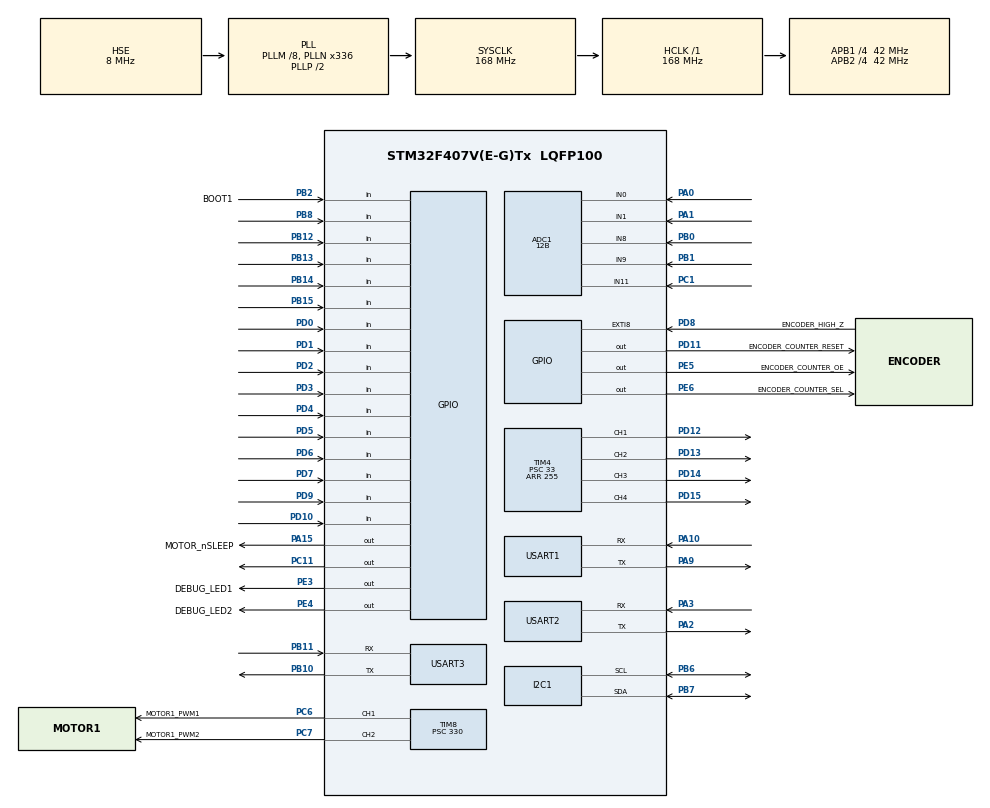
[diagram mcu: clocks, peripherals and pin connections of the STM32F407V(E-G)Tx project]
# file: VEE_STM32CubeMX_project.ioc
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ADC1.Channel-10\#ChannelRegularConversion=ADC_CHANNEL_1
ADC1.Channel-11\#ChannelRegularConversion=ADC_CHANNEL_11
ADC1.Channel-9\#ChannelRegularConversion=ADC_CHANNEL_0
ADC1.ClockPrescaler=ADC_CLOCK_SYNC_PCLK_DIV2
ADC1.ContinuousConvMode=ENABLE
ADC1.DMAContinuousRequests=ENABLE
ADC1.DataAlign=ADC_DATAALIGN_RIGHT
ADC1.DiscontinuousConvMode=DISABLE
ADC1.EOCSelection=ADC_EOC_SINGLE_CONV
ADC1.EnableAnalogWatchDog=false
ADC1.ExternalTrigConv=ADC_SOFTWARE_START
ADC1.ExternalTrigConvEdge=ADC_EXTERNALTRIGCONVEDGE_NONE
ADC1.InjNumberOfConversion=0
ADC1.NbrOfConversion=3
ADC1.NbrOfConversionFlag=1
ADC1.Rank-10\#ChannelRegularConversion=2
ADC1.Rank-11\#ChannelRegularConversion=3
ADC1.Rank-9\#ChannelRegularConversion=1
ADC1.Resolution=ADC_RESOLUTION_12B
ADC1.SamplingTime-10\#ChannelRegularConversion=ADC_SAMPLETIME_480CYCLES
ADC1.SamplingTime-11\#ChannelRegularConversion=ADC_SAMPLETIME_480CYCLES
ADC1.SamplingTime-9\#ChannelRegularConversion=ADC_SAMPLETIME_480CYCLES
ADC1.ScanConvMode=ENABLE
ADC1.master=1
Dma.ADC1.3.Direction=DMA_PERIPH_TO_MEMORY
Dma.ADC1.3.FIFOMode=DMA_FIFOMODE_DISABLE
Dma.ADC1.3.Instance=DMA2_Stream0
Dma.ADC1.3.MemDataAlignment=DMA_MDATAALIGN_HALFWORD
Dma.ADC1.3.MemInc=DMA_MINC_ENABLE
Dma.ADC1.3.Mode=DMA_CIRCULAR
Dma.ADC1.3.PeriphDataAlignment=DMA_PDATAALIGN_HALFWORD
Dma.ADC1.3.PeriphInc=DMA_PINC_DISABLE
Dma.ADC1.3.Priority=DMA_PRIORITY_LOW
Dma.Request0=USART2_RX
Dma.Request1=USART1_RX
Dma.Request2=USART3_RX
Dma.Request3=ADC1
Dma.USART1_RX.1.Direction=DMA_PERIPH_TO_MEMORY
Dma.USART1_RX.1.FIFOMode=DMA_FIFOMODE_DISABLE
Dma.USART1_RX.1.Instance=DMA2_Stream2
Dma.USART1_RX.1.MemDataAlignment=DMA_MDATAALIGN_BYTE
Dma.USART1_RX.1.MemInc=DMA_MINC_ENABLE
Dma.USART1_RX.1.Mode=DMA_CIRCULAR
Dma.USART1_RX.1.PeriphDataAlignment=DMA_PDATAALIGN_BYTE
Dma.USART1_RX.1.PeriphInc=DMA_PINC_DISABLE
Dma.USART1_RX.1.Priority=DMA_PRIORITY_HIGH
Dma.USART2_RX.0.Direction=DMA_PERIPH_TO_MEMORY
Dma.USART2_RX.0.FIFOMode=DMA_FIFOMODE_DISABLE
Dma.USART2_RX.0.Instance=DMA1_Stream5
Dma.USART2_RX.0.MemDataAlignment=DMA_MDATAALIGN_BYTE
Dma.USART2_RX.0.MemInc=DMA_MINC_ENABLE
Dma.USART2_RX.0.Mode=DMA_CIRCULAR
Dma.USART2_RX.0.PeriphDataAlignment=DMA_PDATAALIGN_BYTE
Dma.USART2_RX.0.PeriphInc=DMA_PINC_DISABLE
Dma.USART2_RX.0.Priority=DMA_PRIORITY_MEDIUM
Dma.USART3_RX.2.Direction=DMA_PERIPH_TO_MEMORY
Dma.USART3_RX.2.FIFOMode=DMA_FIFOMODE_DISABLE
Dma.USART3_RX.2.Instance=DMA1_Stream1
Dma.USART3_RX.2.MemDataAlignment=DMA_MDATAALIGN_BYTE
Dma.USART3_RX.2.MemInc=DMA_MINC_ENABLE
Dma.USART3_RX.2.Mode=DMA_CIRCULAR
Dma.USART3_RX.2.PeriphDataAlignment=DMA_PDATAALIGN_BYTE
Dma.USART3_RX.2.PeriphInc=DMA_PINC_DISABLE
Dma.USART3_RX.2.Priority=DMA_PRIORITY_MEDIUM
I2C1.I2C_Mode=I2C_Fast
Mcu.Family=STM32F4
Mcu.Name=STM32F407V(E-G)Tx
Mcu.Package=LQFP100
NVIC.ADC_IRQn=true\:0\:0\:false\:false\:true\:true
NVIC.DMA1_Stream1_IRQn=true\:0\:0\:false\:false\:true\:false
NVIC.DMA1_Stream5_IRQn=true\:0\:0\:false\:false\:true\:false
NVIC.DMA2_Stream0_IRQn=true\:0\:0\:false\:false\:true\:false
NVIC.DMA2_Stream2_IRQn=true\:0\:0\:false\:false\:true\:false
NVIC.EXTI9_5_IRQn=true\:0\:0\:false\:false\:true\:true
NVIC.PriorityGroup=NVIC_PRIORITYGROUP_0
NVIC.USART1_IRQn=true\:0\:0\:false\:false\:true\:true
NVIC.USART2_IRQn=true\:0\:0\:false\:false\:true\:true
NVIC.USART3_IRQn=true\:0\:0\:false\:false\:true\:true
PA0-WKUP.Signal=ADCx_IN0
PA1.Signal=ADCx_IN1
PA10.Mode=Asynchronous
PA10.Signal=USART1_RX
PA15.GPIO_Label=MOTOR_nSLEEP
PA15.Signal=GPIO_Output
PA2.Mode=Asynchronous
PA2.Signal=USART2_TX
PA3.Mode=Asynchronous
PA3.Signal=USART2_RX
PA9.Mode=Asynchronous
PA9.Signal=USART1_TX
PB0.Signal=ADCx_IN8
PB1.Signal=ADCx_IN9
PB10.Mode=Asynchronous
PB10.Signal=USART3_TX
PB11.Mode=Asynchronous
PB11.Signal=USART3_RX
PB12.Signal=GPIO_Input
PB13.Signal=GPIO_Input
PB14.Signal=GPIO_Input
PB15.Signal=GPIO_Input
PB2.GPIO_Label=BOOT1
PB2.GPIO_Mode=GPIO_MODE_INPUT
PB2.GPIO_PuPd=GPIO_NOPULL
PB2.Signal=GPIO_Input
PB6.Mode=I2C
PB6.Signal=I2C1_SCL
PB7.Mode=I2C
PB7.Signal=I2C1_SDA
PB8.Signal=GPIO_Input
PC1.Signal=ADCx_IN11
PC11.Signal=GPIO_Output
PC14-OSC32_IN.GPIO_Label=PC14-OSC32_IN
PC14-OSC32_IN.Signal=RCC_OSC32_IN
PC15-OSC32_OUT.GPIO_Label=PC15-OSC32_OUT
PC15-OSC32_OUT.Signal=RCC_OSC32_OUT
PC6.GPIO_Label=MOTOR1_PWM1
PC6.GPIO_Speed=GPIO_SPEED_FREQ_HIGH
PC6.Signal=S_TIM8_CH1
PC7.GPIO_Label=MOTOR1_PWM2
PC7.GPIO_Speed=GPIO_SPEED_FREQ_HIGH
PC7.Signal=S_TIM8_CH2
PD0.Signal=GPIO_Input
PD1.Signal=GPIO_Input
PD10.Signal=GPIO_Input
PD11.GPIO_Label=ENCODER_COUNTER_RESET
PD11.Signal=GPIO_Output
PD12.GPIO_Speed=GPIO_SPEED_FREQ_HIGH
PD12.Signal=S_TIM4_CH1
PD13.GPIO_Speed=GPIO_SPEED_FREQ_HIGH
PD13.Signal=S_TIM4_CH2
PD14.GPIO_Speed=GPIO_SPEED_FREQ_HIGH
PD14.Signal=S_TIM4_CH3
PD15.GPIO_Speed=GPIO_SPEED_FREQ_HIGH
PD15.Signal=S_TIM4_CH4
PD2.Signal=GPIO_Input
PD3.Signal=GPIO_Input
PD4.Signal=GPIO_Input
PD5.Signal=GPIO_Input
PD6.Signal=GPIO_Input
PD7.Signal=GPIO_Input
PD8.GPIO_Label=ENCODER_HIGH_Z
PD8.Signal=GPXTI8
PD9.Signal=GPIO_Input
PE3.GPIO_Label=DEBUG_LED1
PE3.Signal=GPIO_Output
PE4.GPIO_Label=DEBUG_LED2
PE4.Signal=GPIO_Output
PE5.GPIO_Label=ENCODER_COUNTER_OE
PE5.Signal=GPIO_Output
PE6.GPIO_Label=ENCODER_COUNTER_SEL
PE6.Signal=GPIO_Output
PH0-OSC_IN.GPIO_Label=PH0-OSC_IN
PH0-OSC_IN.Mode=HSE-External-Oscillator
PH0-OSC_IN.Signal=RCC_OSC_IN
PH1-OSC_OUT.GPIO_Label=PH1-OSC_OUT
PH1-OSC_OUT.Mode=HSE-External-Oscillator
PH1-OSC_OUT.Signal=RCC_OSC_OUT
ProjectManager.HeapSize=0x200
ProjectManager.StackSize=0x400
ProjectManager.TargetToolchain=TrueSTUDIO
RCC.48MHZClocksFreq_Value=48000000
RCC.AHBFreq_Value=168000000
RCC.APB1CLKDivider=RCC_HCLK_DIV4
RCC.APB1Freq_Value=42000000
RCC.APB1TimFreq_Value=84000000
RCC.APB2CLKDivider=RCC_HCLK_DIV4
RCC.APB2Freq_Value=42000000
RCC.APB2TimFreq_Value=84000000
RCC.CortexFreq_Value=168000000
RCC.HCLKFreq_Value=168000000
RCC.HSE_VALUE=8000000
RCC.HSI_VALUE=16000000
RCC.LSE_VALUE=32768
RCC.PLLM=8
RCC.PLLN=336
RCC.PLLQ=7
RCC.PLLSourceVirtual=RCC_PLLSOURCE_HSE
RCC.SYSCLKFreq_VALUE=168000000
RCC.SYSCLKSource=RCC_SYSCLKSOURCE_PLLCLK
RCC.VCOOutputFreq_Value=336000000
SH.ADCx_IN0.0=ADC1_IN0,IN0
SH.ADCx_IN1.0=ADC1_IN1,IN1
SH.ADCx_IN11.0=ADC1_IN11,IN11
SH.ADCx_IN8.0=ADC1_IN8,IN8
SH.ADCx_IN9.0=ADC1_IN9,IN9
SH.S_TIM4_CH1.0=TIM4_CH1,PWM Generation1 CH1
SH.S_TIM4_CH2.0=TIM4_CH2,PWM Generation2 CH2
SH.S_TIM4_CH3.0=TIM4_CH3,PWM Generation3 CH3
SH.S_TIM4_CH4.0=TIM4_CH4,PWM Generation4 CH4
SH.S_TIM8_CH1.0=TIM8_CH1,PWM Generation1 CH1
SH.S_TIM8_CH2.0=TIM8_CH2,PWM Generation2 CH2
TIM4.Channel-PWM\ Generation1\ CH1=TIM_CHANNEL_1
TIM4.Channel-PWM\ Generation2\ CH2=TIM_CHANNEL_2
TIM4.Channel-PWM\ Generation3\ CH3=TIM_CHANNEL_3
TIM4.Channel-PWM\ Generation4\ CH4=TIM_CHANNEL_4
TIM4.Period=255
TIM4.Prescaler=33
TIM8.Channel-PWM\ Generation1\ CH1=TIM_CHANNEL_1
TIM8.Channel-PWM\ Generation2\ CH2=TIM_CHANNEL_2
TIM8.Period=255
TIM8.Prescaler=330
USART1.VirtualMode=VM_ASYNC
USART2.VirtualMode=VM_ASYNC
USART3.VirtualMode=VM_ASYNC
VP_TIM2_VS_ClockSourceITR.Mode=TriggerSource_ITR0
VP_TIM2_VS_ControllerModeClock.Mode=Clock Mode
VP_TIM4_VS_ClockSourceINT.Mode=Internal
VP_TIM8_VS_ClockSourceINT.Mode=Internal
board=STM32F4DISCOVERY

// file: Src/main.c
/**
  ******************************************************************************
  * File Name          : main.c
  * Description        : Main program body
  ******************************************************************************
  ** This notice applies to any and all portions of this file
  * that are not between comment pairs USER CODE BEGIN and
  * USER CODE END. Other portions of this file, whether
  * inserted by the user or by software development tools
  * are owned by their respective copyright owners.
  *
  * COPYRIGHT(c) 2018 STMicroelectronics
  *
  * Redistribution and use in source and binary forms, with or without modification,
  * are permitted provided that the following conditions are met:
  *   1. Redistributions of source code must retain the above copyright notice,
  *      this list of conditions and the following disclaimer.
  *   2. Redistributions in binary form must reproduce the above copyright notice,
  *      this list of conditions and the following disclaimer in the documentation
  *      and/or other materials provided with the distribution.
  *   3. Neither the name of STMicroelectronics nor the names of its contributors
  *      may be used to endorse or promote products derived from this software
  *      without specific prior written permission.
  *
  * THIS SOFTWARE IS PROVIDED BY THE COPYRIGHT HOLDERS AND CONTRIBUTORS "AS IS"
  * AND ANY EXPRESS OR IMPLIED WARRANTIES, INCLUDING, BUT NOT LIMITED TO, THE
  * IMPLIED WARRANTIES OF MERCHANTABILITY AND FITNESS FOR A PARTICULAR PURPOSE ARE
  * DISCLAIMED. IN NO EVENT SHALL THE COPYRIGHT HOLDER OR CONTRIBUTORS BE LIABLE
  * FOR ANY DIRECT, INDIRECT, INCIDENTAL, SPECIAL, EXEMPLARY, OR CONSEQUENTIAL
  * DAMAGES (INCLUDING, BUT NOT LIMITED TO, PROCUREMENT OF SUBSTITUTE GOODS OR
  * SERVICES; LOSS OF USE, DATA, OR PROFITS; OR BUSINESS INTERRUPTION) HOWEVER
  * CAUSED AND ON ANY THEORY OF LIABILITY, WHETHER IN CONTRACT, STRICT LIABILITY,
  * OR TORT (INCLUDING NEGLIGENCE OR OTHERWISE) ARISING IN ANY WAY OUT OF THE USE
  * OF THIS SOFTWARE, EVEN IF ADVISED OF THE POSSIBILITY OF SUCH DAMAGE.
  *
  ******************************************************************************
  */

#include "main.h"
#include "stm32f4xx_hal.h"
#include "adc.h"
#include "dma.h"
#include "i2c.h"
#include "tim.h"
#include "usart.h"
#include "gpio.h"

/* USER CODE BEGIN Includes */
#include "arm_math.h"
#include "message_util.h"
#include "motor_controller.h"
#include "stm32f4xx_it.h"
#include "stm32f4_discovery.h"
#include "delay.h"

/* USER CODE END Includes */

/* USER CODE BEGIN PV */

#define SAMPLES	512 /* 256 real party and 256 imaginary parts */
#define FFT_SIZE	SAMPLES / 2	/* FFT size is always the same size as we have samples, so 256 in our case */

float32_t Input[SAMPLES];
float32_t Output[FFT_SIZE];
float32_t maxValue;
uint32_t maxIndex;

extern DMA_HandleTypeDef hdma_usart1_rx;
extern DMA_HandleTypeDef hdma_usart2_rx;
extern DMA_HandleTypeDef hdma_usart3_rx;
I2C_HandleTypeDef hi2c1;

/* Private variables ---------------------------------------------------------*/
#define RECV_BUFF_SIZE 64
#define SEND_BUFF_SIZE 64

char* bufftr = "Hello!\n\r";
char* resp_msg_err = "invalid_message!\n\r";
uint8_t buffrec = 0;
uint8_t rxbuff[RECV_BUFF_SIZE];
uint8_t rxbuff_idx = 0;
//__IO ITStatus UartReady = RESET;
__IO ITStatus recv_msg_flag = RESET; //declare volatile so that the variable could be changed in interrupt
volatile uint8_t Encoder_High_Z_flag;
uint32_t g_encoder_cycle_count = 0;

MatLab_Message_TypeDef matlab_msg;
PID_Algo_Params_TypeDef pid_params;

/* DMA Timeout event structure
 * Note: prevCNDTR initial value must be set to maximum size of DMA buffer!
*/
DMA_Event_t dma_uart_rx = {0,0,DMA_BUF_SIZE};

uint8_t dma_rx_buf[DMA_BUF_SIZE];       /* Circular buffer for DMA */
uint8_t data[DMA_BUF_SIZE] = {'\0'};    /* Data buffer that contains newly received data */
uint16_t data_len = 0;

/* ADC variables */
uint16_t duty = 0, fade=50;

//ADC value
uint16_t adc_value[3];
/* USER CODE END PV */

void SystemClock_Config(void);

/* USER CODE BEGIN PFP */
/* Private function prototypes -----------------------------------------------*/
//void PWM_Set_Duty(uint16_t);
void DMA_Init(void);
void Handle_Matlab_Message();
void MatLab_Send_Param_Handler(uint8_t *data, uint8_t len);
//void Control_Motor(uint8_t *data, uint8_t len);
void Get_Position();
void Read_ADC();
void Set_PWM(uint8_t *data);
void Encoder_Cycle_Completed_Handler();
void Reset_Encoder_Counter_Handler();

/* USER CODE END PFP */

int main(void)
{

  /* MCU Configuration----------------------------------------------------------*/

  /* Reset of all peripherals, Initializes the Flash interface and the Systick. */
  HAL_Init();

  /* Configure the system clock */
  SystemClock_Config();

  /* USER CODE BEGIN SysInit */

//  SystemClockHSE_Config();
  /* USER CODE END SysInit */

  /* Initialize all configured peripherals */
  MX_GPIO_Init();
  MX_DMA_Init();
  MX_USART2_UART_Init();
  MX_TIM2_Init();
  MX_TIM4_Init();
  MX_ADC1_Init();
  MX_USART3_UART_Init();
  MX_TIM8_Init();
  MX_USART1_UART_Init();
  MX_I2C1_Init();

  /* USER CODE BEGIN 2 */

  /* Configure LED3, LED4, LED5 and LED6 */
//  BSP_LED_Init(LED3);// led orange
  BSP_LED_Init(LED4); // led green
//  BSP_LED_Init(LED5); //led red
  BSP_LED_Init(LED6); // led blue

  HAL_TIM_PWM_Start(&htim4, TIM_CHANNEL_1);
  HAL_TIM_PWM_Start(&htim4, TIM_CHANNEL_2);
  HAL_TIM_PWM_Start(&htim4, TIM_CHANNEL_3);
  HAL_TIM_PWM_Start(&htim4, TIM_CHANNEL_4);

  HAL_TIM_PWM_Start(&htim8, TIM_CHANNEL_1);
  HAL_TIM_PWM_Start(&htim8, TIM_CHANNEL_2);

  /* Receive Data register not empty interrupt */
  //__HAL_UART_ENABLE_IT(&huart2, UART_IT_RXNE);
  /* Enable the UART Transmition Complete Interrupt */
  //__HAL_UART_ENABLE_IT(&huart2, UART_IT_TC);
//  __HAL_UART_FLUSH_DRREGISTER(&huart2);
//  if (HAL_UART_Receive_DMA(&huart2, dma_rx_buf, DMA_BUF_SIZE) != HAL_OK)
//  {
//
//  }

    __HAL_UART_FLUSH_DRREGISTER(&huart3);
    if (HAL_UART_Receive_DMA(&huart3, dma_rx_buf, DMA_BUF_SIZE) != HAL_OK)
    {

    }

//  __HAL_UART_FLUSH_DRREGISTER(&huart1);
//  if (HAL_UART_Receive_DMA(&huart1, dma_rx_buf, DMA_BUF_SIZE) != HAL_OK)
//  {
//
//  }
  /* Disable Half Transfer Interrupt */
 // __HAL_DMA_DISABLE_IT(huart2.hdmarx, DMA_IT_HT);

  /* ADC code */
  HAL_ADC_Start_DMA(&hadc1, (uint32_t*) adc_value, 3);
  /* USER CODE END 2 */

  /* Infinite loop */
  /* USER CODE BEGIN WHILE */
  HAL_GPIO_WritePin(DEBUG_LED1_GPIO_Port, DEBUG_LED1_Pin, GPIO_PIN_SET);
  HAL_GPIO_WritePin(DEBUG_LED2_GPIO_Port, DEBUG_LED2_Pin, GPIO_PIN_SET);
  HAL_UART_Transmit_IT(&huart3, (uint8_t*)bufftr, 8);

//  BSP_LED_Toggle(LED6); //TX-blue
//  Motor_Forward_Drive(100);
  printf("hello swv\n");
  Encoder_High_Z_flag = RESET;
  Init_IO_Expander(&hi2c1);
  Reset_Encoder_Counter(&hi2c1);
  while (1)
  {
//	  arm_cmplx_mag_f32(Input, Output, FFT_SIZE);
//	  arm_max_f32(Output, FFT_SIZE, &maxValue, &maxIndex);

	  /**********************Debug encoder************************/
	  if (Encoder_High_Z_flag == SET) {
//		  Encoder_Cycle_Completed_Handler();
	  }

//	  HAL_GPIO_WritePin(Decoder_Reset_GPIO_Port, Decoder_Reset_Pin, GPIO_PIN_SET);
//	  uint16_t enc_pos = Read_Encoder_Position();
//	  printf("decoder value = %d\n", enc_pos);
	  /*************************************************************/

	  if (recv_msg_flag == SET) {
		  Handle_Matlab_Message();
	  }

  /* USER CODE END WHILE */

  }

}

/** System Clock Configuration
*/
void SystemClock_Config(void)
{

  RCC_OscInitTypeDef RCC_OscInitStruct;
  RCC_ClkInitTypeDef RCC_ClkInitStruct;

    /**Configure the main internal regulator output voltage
    */
  __HAL_RCC_PWR_CLK_ENABLE();

  __HAL_PWR_VOLTAGESCALING_CONFIG(PWR_REGULATOR_VOLTAGE_SCALE1);

    /**Initializes the CPU, AHB and APB busses clocks
    */
  RCC_OscInitStruct.OscillatorType = RCC_OSCILLATORTYPE_HSE;
  RCC_OscInitStruct.HSEState = RCC_HSE_ON;
  RCC_OscInitStruct.PLL.PLLState = RCC_PLL_ON;
  RCC_OscInitStruct.PLL.PLLSource = RCC_PLLSOURCE_HSE;
  RCC_OscInitStruct.PLL.PLLM = 8;
  RCC_OscInitStruct.PLL.PLLN = 336;
  RCC_OscInitStruct.PLL.PLLP = RCC_PLLP_DIV2;
  RCC_OscInitStruct.PLL.PLLQ = 7;
  if (HAL_RCC_OscConfig(&RCC_OscInitStruct) != HAL_OK)
  {
    _Error_Handler(__FILE__, __LINE__);
  }

    /**Initializes the CPU, AHB and APB busses clocks
    */
  RCC_ClkInitStruct.ClockType = RCC_CLOCKTYPE_HCLK|RCC_CLOCKTYPE_SYSCLK
                              |RCC_CLOCKTYPE_PCLK1|RCC_CLOCKTYPE_PCLK2;
  RCC_ClkInitStruct.SYSCLKSource = RCC_SYSCLKSOURCE_PLLCLK;
  RCC_ClkInitStruct.AHBCLKDivider = RCC_SYSCLK_DIV1;
  RCC_ClkInitStruct.APB1CLKDivider = RCC_HCLK_DIV4;
  RCC_ClkInitStruct.APB2CLKDivider = RCC_HCLK_DIV4;

  if (HAL_RCC_ClockConfig(&RCC_ClkInitStruct, FLASH_LATENCY_5) != HAL_OK)
  {
    _Error_Handler(__FILE__, __LINE__);
  }

    /**Configure the Systick interrupt time
    */
  HAL_SYSTICK_Config(HAL_RCC_GetHCLKFreq()/1000);

    /**Configure the Systick
    */
  HAL_SYSTICK_CLKSourceConfig(SYSTICK_CLKSOURCE_HCLK);

  /* SysTick_IRQn interrupt configuration */
  HAL_NVIC_SetPriority(SysTick_IRQn, 0, 0);
}

/* USER CODE BEGIN 4 */

void SystemClockHSE_Config(void)
{

	RCC_OscInitTypeDef RCC_OscInitStruct;
	RCC_ClkInitTypeDef RCC_ClkInitStruct;
  /* -1- Select HSI as system clock source to allow modification of the PLL configuration */
  RCC_ClkInitStruct.ClockType = RCC_CLOCKTYPE_SYSCLK;
  RCC_ClkInitStruct.SYSCLKSource = RCC_SYSCLKSOURCE_HSI;
  if(HAL_RCC_ClockConfig(&RCC_ClkInitStruct, FLASH_LATENCY_1) != HAL_OK)
  {
    /* Initialization Error */
    Error_Handler();
  }

  /* -2- Enable HSE Oscillator, select it as PLL source and finally activate the PLL */
  RCC_OscInitStruct.OscillatorType = RCC_OSCILLATORTYPE_HSE;
  RCC_OscInitStruct.HSEState = RCC_HSE_ON;
  RCC_OscInitStruct.PLL.PLLState = RCC_PLL_ON;
  RCC_OscInitStruct.PLL.PLLSource = RCC_PLLSOURCE_HSE;
  RCC_OscInitStruct.PLL.PLLM = 8;
  RCC_OscInitStruct.PLL.PLLN = 336;
  RCC_OscInitStruct.PLL.PLLP = RCC_PLLP_DIV2;
  RCC_OscInitStruct.PLL.PLLQ = 7;
  if(HAL_RCC_OscConfig(&RCC_OscInitStruct) != HAL_OK)
  {
    /* Initialization Error */
    Error_Handler();
  }

  /* -3- Select the PLL as system clock source and configure the HCLK, PCLK1 and PCLK2 clocks dividers */
  RCC_ClkInitStruct.ClockType = (RCC_CLOCKTYPE_SYSCLK | RCC_CLOCKTYPE_HCLK | RCC_CLOCKTYPE_PCLK1 | RCC_CLOCKTYPE_PCLK2);
  RCC_ClkInitStruct.SYSCLKSource = RCC_SYSCLKSOURCE_PLLCLK;
  RCC_ClkInitStruct.AHBCLKDivider = RCC_SYSCLK_DIV1;
  RCC_ClkInitStruct.APB1CLKDivider = RCC_HCLK_DIV4;
  RCC_ClkInitStruct.APB2CLKDivider = RCC_HCLK_DIV2;
  if(HAL_RCC_ClockConfig(&RCC_ClkInitStruct, FLASH_LATENCY_5) != HAL_OK)
  {
    /* Initialization Error */
    Error_Handler();
  }

  /* -4- Optional: Disable HSI Oscillator (if the HSI is no more needed by the application)*/
  RCC_OscInitStruct.OscillatorType = RCC_OSCILLATORTYPE_HSI;
  RCC_OscInitStruct.HSIState = RCC_HSI_OFF;
  RCC_OscInitStruct.PLL.PLLState = RCC_PLL_NONE;
  if(HAL_RCC_OscConfig(&RCC_OscInitStruct) != HAL_OK)
  {
    /* Initialization Error */
    Error_Handler();
  }
}

/* DMA Configuration */
void DMA_Init(void)
{
    __HAL_RCC_DMA1_CLK_ENABLE();

    hdma_usart2_rx.Instance = DMA1_Stream5;
    //hdma_usart2_rx.Init.Request = DMA_REQUEST_2;
    hdma_usart2_rx.Init.Direction = DMA_PERIPH_TO_MEMORY;
    hdma_usart2_rx.Init.PeriphInc = DMA_PINC_DISABLE;
    hdma_usart2_rx.Init.MemInc = DMA_MINC_ENABLE;
    hdma_usart2_rx.Init.PeriphDataAlignment = DMA_PDATAALIGN_BYTE;
    hdma_usart2_rx.Init.MemDataAlignment = DMA_MDATAALIGN_BYTE;
    hdma_usart2_rx.Init.Mode = DMA_CIRCULAR;
    hdma_usart2_rx.Init.Priority = DMA_PRIORITY_VERY_HIGH;
    if(HAL_DMA_Init(&hdma_usart2_rx) != HAL_OK)
    {
        Error_Handler();
    }

    __HAL_LINKDMA(&huart2,hdmarx, hdma_usart2_rx);

    /* DMA Interrupt Configuration */
    HAL_NVIC_SetPriority(DMA1_Stream5_IRQn, 0, 0);
    HAL_NVIC_EnableIRQ(DMA1_Stream5_IRQn);
}

/**
  * @brief  Tx Transfer completed callback
  * @param  UartHandle: UART handle.
  * @note   This example shows a simple way to report end of IT Tx transfer, and
  *         you can add your own implementation.
  * @retval None
  */
void HAL_UART_TxCpltCallback(UART_HandleTypeDef *UartHandle)
{
  /* Set transmission flag: transfer complete */
//  UartReady = SET;
	__HAL_UART_FLUSH_DRREGISTER(&huart3);
}

/**
  * @brief  Rx Transfer completed callback
  * @param  UartHandle: UART handle
  * @note   This example shows a simple way to report end of IT Rx transfer, and
  *         you can add your own implementation.
  * @retval None
  */
void HAL_UART_RxCpltCallback(UART_HandleTypeDef *UartHandle)
{
	/* *****************************************************************
	 * DMA with Timeout Event
	 * ****************************************************************
	 */

	uint16_t i, pos, start, length;
	uint16_t currCNDTR = __HAL_DMA_GET_COUNTER(UartHandle->hdmarx);

	/* Ignore IDLE Timeout when the received characters exactly filled up the DMA buffer and DMA Rx Complete IT is generated, but there is no new character during timeout */
	if (dma_uart_rx.flag && currCNDTR == DMA_BUF_SIZE) {
		dma_uart_rx.flag = 0;
		return;
	}

	/* Determine start position in DMA buffer based on previous CNDTR value */
	start = (dma_uart_rx.prevCNDTR < DMA_BUF_SIZE) ?
			(DMA_BUF_SIZE - dma_uart_rx.prevCNDTR) : 0;

	if (dma_uart_rx.flag) /* Timeout event */
	{
		/* Determine new data length based on previous DMA_CNDTR value:
		 *  If previous CNDTR is less than DMA buffer size: there is old data in DMA buffer (from previous timeout) that has to be ignored.
		 *  If CNDTR == DMA buffer size: entire buffer content is new and has to be processed.
		 */
		length =
				(dma_uart_rx.prevCNDTR < DMA_BUF_SIZE) ?
						(dma_uart_rx.prevCNDTR - currCNDTR) :
						(DMA_BUF_SIZE - currCNDTR);
		dma_uart_rx.prevCNDTR = currCNDTR;
		dma_uart_rx.flag = 0;
	} else /* DMA Rx Complete event */
	{
		length = DMA_BUF_SIZE - start;
		dma_uart_rx.prevCNDTR = DMA_BUF_SIZE;
	}

	/* Copy and Process new data */
	for (i = 0, pos = start; i < length; ++i, ++pos) {
		data[i] = dma_rx_buf[pos];
	}
	data_len = length;
	recv_msg_flag = SET;
	HAL_UART_DMAStop(&huart3);
//	HAL_UART_DMAStop(&huart1);
	dma_uart_rx.prevCNDTR = DMA_BUF_SIZE;
	HAL_UART_Receive_DMA(&huart3, dma_rx_buf, DMA_BUF_SIZE);
//	HAL_UART_Receive_DMA(&huart1, dma_rx_buf, DMA_BUF_SIZE);
	__HAL_DMA_SET_COUNTER(UartHandle->hdmarx, DMA_BUF_SIZE);

//	uint8_t err;
//	matlab_msg = MatLab_Message_Parser(data, length, &err);
//	HAL_UART_Transmit_IT(&huart2, &(matlab_msg.len), 1);
//	HAL_UART_Transmit_IT(&huart2, matlab_msg.payload, 2);

//	HAL_UART_Transmit_IT(&huart2, data, length);
}

void Handle_Matlab_Message() {
	// BSP_LED_Toggle(LED4); // green
	printf("received message\n");
	uint8_t err;
	MatLab_Message_TypeDef msg;
	err = MatLab_Message_Parser(&msg, data, data_len);

	if (err == MSG_PARSER_SUCCESS) {
		//			  HandleMessage(msg);
		switch (msg.cmd_type) {
		case MATLAB_CMD_SEND_PARAM:
			/* TODO - Call SendParam function */
			MatLab_Send_Param_Handler(msg.payload.data, msg.payload.len);
			break;
		case MATLAB_CMD_GET_POS:
			/* TODO - Call GetPos function */
			Get_Position();
			break;
		case MATLAB_CMD_READ_ADC:
			Read_ADC();
			break;
		case MATLAB_CMD_RESTART:
			/* TODO - Call Soft reset function */
			break;
		case MATLAB_CMD_SET_PWM:
			Set_PWM(msg.payload.data);
			break;
		case MATLAB_CMD_RESET_ENCODER_COUNTER:
			Reset_Encoder_Counter_Handler();
			break;
		default:
			MatLab_Send_Response((uint8_t)MATLAB_CMD_REPLY, (uint8_t *)MSG_REPLY_NAK_CMD_INVALID, 1);
		}
	} else {
		MatLab_Send_Response((uint8_t)MATLAB_CMD_REPLY, &err, 1);

	}
	//		  MATLAB_Message_Handler(data, data_len);
	//		  HAL_UART_Transmit(&huart2, data, data_len, 5); //echo
	//		  HAL_UART_Transmit(&huart2, (uint8_t*)bufftr, 8, 5);

	recv_msg_flag = RESET;
}

void Encoder_Cycle_Completed_Handler()
{

	uint16_t pos = Read_Encoder_Position();
	printf("before reset position = %d\n", pos);
	Reset_Encoder_Counter(&hi2c1);
	Encoder_High_Z_flag = RESET;
	pos = Read_Encoder_Position();
	printf("after reset position = %d\n", pos);
}

void Get_Position()
{
	uint16_t pos = 0;
	uint8_t buff[2];

	pos = Read_Encoder_Position();
	buff[0] = (uint8_t)(pos & 0x00ff);
	buff[1] = (uint8_t)(pos >> 8);

	MatLab_Send_Response((uint8_t)MATLAB_CMD_GET_POS, buff, 2);

	printf("Decoder counter value=%d\n", pos);

	/* DEBUG  */
//	uint16_t first_read = Read_Encoder_Position();
//	uint16_t second_read = Read_Encoder_Position();
//	printf("first_read = %d | second_read = %d\n", first_read, second_read);
//	printf("cycle count = %d\n", g_encoder_cycle_count);

	/******************************/
}

void Read_ADC()
{
	uint8_t buff[6];
	uint16_t adc1_in0, adc1_in1, adc1_in11;

	HAL_ADC_Stop_DMA(&hadc1);
	adc1_in0 = adc_value[0];
	adc1_in1 = adc_value[1];
	adc1_in11 = adc_value[2];

	buff[0] = (uint8_t) (adc1_in0 & 0x00ff);
	buff[1] = (uint8_t) (adc1_in0 >> 8);
	buff[2] = (uint8_t) (adc1_in1 & 0x00ff);
	buff[3] = (uint8_t) (adc1_in1 >> 8);
	buff[4] = (uint8_t) (adc1_in11 & 0x00ff);
	buff[5] = (uint8_t) (adc1_in11 >> 8);

	HAL_ADC_Start_DMA(&hadc1, (uint32_t*) adc_value, 3);

	MatLab_Send_Response((uint8_t) MATLAB_CMD_READ_ADC, buff, 6);
}

void Set_PWM(uint8_t *data)
{
	Motor_Forward_Drive((uint16_t) data[0]);
	PWM_Set_Duty((uint16_t) data[0]);
	MatLab_Send_Response((uint8_t)MATLAB_CMD_SET_PWM, (uint8_t *)MSG_REPLY_ACK, 1);
}

void Reset_Encoder_Counter_Handler()
{
	Reset_Encoder_Counter(&hi2c1);
	MatLab_Send_Response((uint8_t)MATLAB_CMD_RESET_ENCODER_COUNTER, (uint8_t *)MSG_REPLY_ACK, 1);
}

void MatLab_Send_Param_Handler(uint8_t *data, uint8_t len)
{
	Control_Motor(data, len);
	/****************************************/

	/* Respond result by calling Send_Response_Message*/

	MatLab_Send_Response((uint8_t)MATLAB_CMD_SEND_PARAM, (uint8_t *)MSG_REPLY_ACK, 1);
}

/* USER CODE END 4 */

void _Error_Handler(char * file, int line)
{
  while(1)
  {
  }
}

/************************ (C) COPYRIGHT STMicroelectronics *****END OF FILE****/
